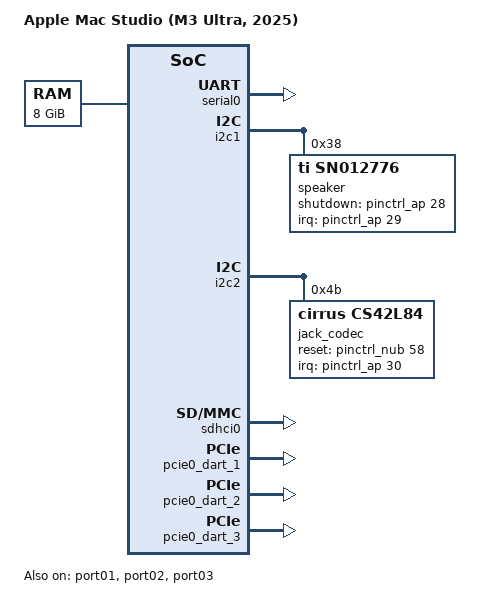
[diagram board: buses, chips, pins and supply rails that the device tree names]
// SPDX-License-Identifier: GPL-2.0+ OR MIT
/*
 * Apple Mac Studio (M3 Ultra, 2025)
 *
 * target-type: J575d
 *
 * Copyright The Asahi Linux Contributors
 */

/dts-v1/;

#include "t6032.dtsi"

/ {
	compatible = "apple,j575d", "apple,t6032", "apple,arm-platform";
	model = "Apple Mac Studio (M3 Ultra, 2025)";

	aliases {
		ethernet0 = &ethernet0;
		serial0 = &serial0;
	};

	chosen {
		#address-cells = <2>;
		#size-cells = <2>;
		ranges;

		stdout-path = "serial0";

		framebuffer0: framebuffer@0 {
			compatible = "apple,simple-framebuffer", "simple-framebuffer";
			reg = <0 0 0 0>; /* To be filled by loader */
			/* Format properties will be added by loader */
			status = "disabled";
			power-domains = <&ps_dispext0_cpu>;
		};
	};

	memory@10000000000 {
		device_type = "memory";
		reg = <0x100 0 0x2 0>; /* To be filled by loader */
	};
};

&serial0 {
	status = "okay";
};

/* Audio */
&i2c1 {
	status = "okay";

	speaker: codec@38 {
		compatible = "ti,sn012776", "ti,tas2764";
		reg = <0x38>;
		shutdown-gpios = <&pinctrl_ap 28 GPIO_ACTIVE_HIGH>;
		#sound-dai-cells = <0>;
		interrupts-extended = <&pinctrl_ap 29 IRQ_TYPE_LEVEL_LOW>;
		ti,imon-slot-no = <0>;
		ti,vmon-slot-no = <2>;
	};
};

&i2c2 {
	status = "okay";

	jack_codec: codec@4b {
		compatible = "cirrus,cs42l84";
		reg = <0x4b>;
		reset-gpios = <&pinctrl_nub 58 GPIO_ACTIVE_HIGH>;
		#sound-dai-cells = <0>;
		interrupts-extended = <&pinctrl_ap 30 IRQ_TYPE_LEVEL_LOW>;
		sound-name-prefix = "Jack";
	};
};

&nco_clkref {
	clock-frequency = <900000000>;
};

/ {
	sound: sound {
		compatible = "apple,j575-macaudio", "apple,j375-macaudio", "apple,macaudio";
		model = "Mac Studio J575";

		dai-link@0 {
			link-name = "Speaker";

			cpu {
				sound-dai = <&mca 0>;
			};
			codec {
				sound-dai = <&speaker>;
			};
		};

		dai-link@1 {
			link-name = "Headphone Jack";

			cpu {
				sound-dai = <&mca 2>;
			};
			codec {
				sound-dai = <&jack_codec>;
			};
		};
	};
};

/*
 * PCIe devices, from the 27.0.1 ADT of a retail unit: port00 WLAN and
 * Bluetooth, port01 SD card reader, port02 10 Gbit Ethernet, port03 USB
 * xHCI (ASM3142). The pwren numbers are the SMC gPxx key of the ADT
 * function-reg_on, function-sd_pwr_en and function-power_enable
 * properties read as hex; the ADT has no power function for port02. The ADT
 * gives the PCI id only for the SD reader, so the WLAN and Bluetooth child
 * nodes are not written here.
 */
&port00 {
	/* WLAN */
	bus-range = <1 1>;
	pwren-gpios = <&smc_gpio 19 GPIO_ACTIVE_HIGH>;
};

&port01 {
	/* SD card reader */
	bus-range = <2 2>;
	pwren-gpios = <&smc_gpio 25 GPIO_ACTIVE_HIGH>;
	status = "okay";
	/*
	 * The ADT gives both polarity properties as 1. The inverted flags below
	 * are copied from the M2 Ultra Studio; their mapping to 1 is unverified.
	 */
	sdhci0: mmc@0,0 {
		compatible = "pci17a0,9755";
		reg = <0x20000 0x0 0x0 0x0 0x0>;
		cd-inverted;
		wp-inverted;
	};
};

&port02 {
	/* 10 Gbit Ethernet */
	bus-range = <3 3>;
	status = "okay";
	ethernet0: ethernet@0,0 {
		reg = <0x30000 0x0 0x0 0x0 0x0>;
		/* To be filled by the loader */
		local-mac-address = [00 10 18 00 00 00];
	};
};

&port03 {
	/* USB xHCI */
	bus-range = <4 4>;
	pwren-gpios = <&smc_gpio 22 GPIO_ACTIVE_HIGH>;
	status = "okay";
};

&pcie0_dart_1 {
	status = "okay";
};

&pcie0_dart_2 {
	status = "okay";
};

&pcie0_dart_3 {
	status = "okay";
};

#include "hwmon-common.dtsi"
#include "hwmon-fan-dual.dtsi"

/* No spi1-nvram.dtsi: the 27.0.1 j575dap ADT has no SPI-NOR at
 * 0x391104000 (the laptop keyboard/NVRAM bus), and t6032.dtsi deletes the
 * inherited node. The boot chain keeps its environment on the ESP. */
